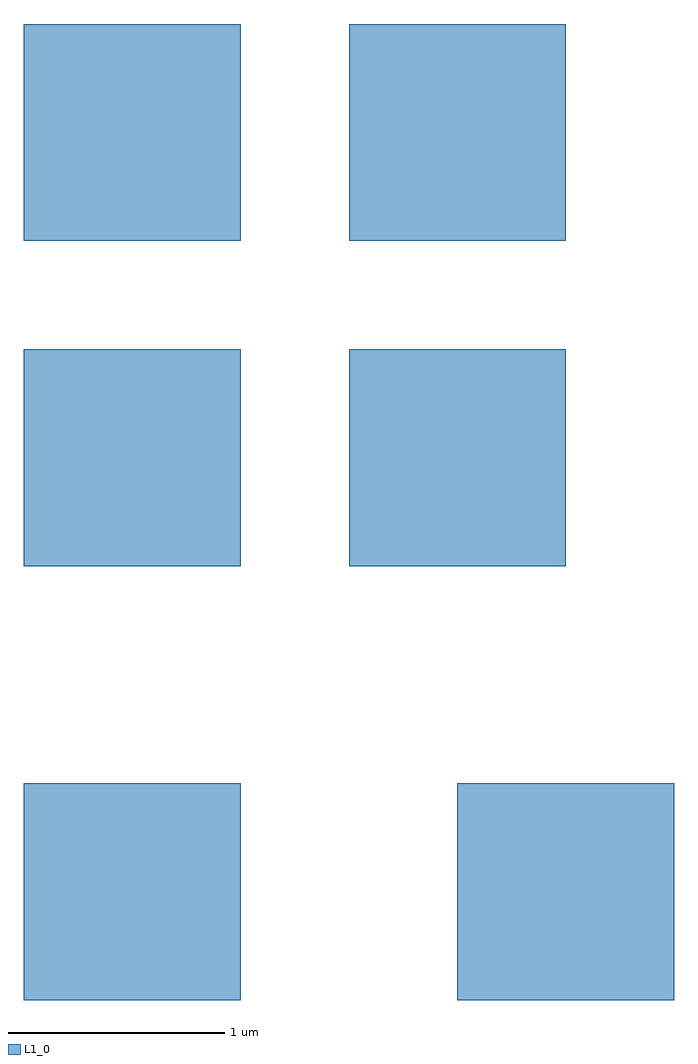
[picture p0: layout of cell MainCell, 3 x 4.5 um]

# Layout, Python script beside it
import pya

def demonstrate_cell_operations():
    """
    Shows various cell operations including:
    - Cell creation
    - Cell instantiation
    - Cell transformation
    - Hierarchy manipulation
    """
    # Create a new layout
    layout = pya.Layout()
    layout.dbu = 0.001  # 1nm database unit
    
    # Create a basic subcell with a rectangle
    sub_cell = layout.create_cell("SubCell")
    layer1 = layout.layer(1, 0)
    sub_cell.shapes(layer1).insert(pya.Box(0, 0, 1000, 1000))
    
    # Create a main cell
    main_cell = layout.create_cell("MainCell")
    
    # Create multiple instances of the subcell with different transformations
    
    # 1. Basic instance
    main_cell.insert(pya.CellInstArray(
        sub_cell.cell_index(),
        pya.Trans(pya.Point(0, 0))
    ))
    
    # 2. Rotated instance (45 degrees)
    main_cell.insert(pya.CellInstArray(
        sub_cell.cell_index(),
        pya.Trans(45, True, pya.Point(2000, 0))
    ))
    
    # 3. Array of instances (2x2)
    main_cell.insert(pya.CellInstArray(
        sub_cell.cell_index(),
        pya.Trans(pya.Point(0, 2000)),
        pya.Vector(1500, 0),  # X step
        pya.Vector(0, 1500),  # Y step
        2, 2  # nx, ny repetitions
    ))
    
    # Save the layout
    layout.write("cell_operations.gds")

def main():
    print("Demonstrating cell operations...")
    demonstrate_cell_operations()
    print("Layout saved as 'cell_operations.gds'")

if __name__ == "__main__":
    main()
